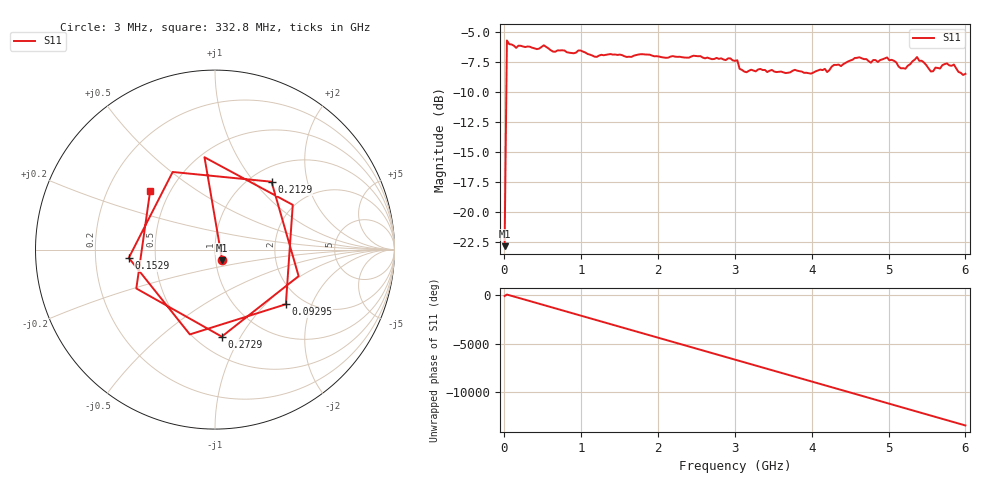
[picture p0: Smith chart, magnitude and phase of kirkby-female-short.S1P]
! C:\data\Siglent F603FE cal kit tests\avg 16 100hz ifbw\kirkby short.S1P
! Touchstone 1.1 file saved by VNA.EXE V1.60 (www.ke5fx.com/gpib/readme.htm)
! 26/07/2020 12:23:25 p.m.
!  Source: HEWLETT PACKARD,8753C,0,4.12
!  Min freq: 3.000000E+006 Hz
!  Max freq: 6.000000E+009 Hz
!  Points: 201
!  Params: S11
# GHZ S DB R 50
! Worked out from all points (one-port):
!   201 points, 3 MHz to 6 GHz, reference 50 ohm
!   lowest |S11| = -22.8 dB at 3 MHz (marker M1), VSWR 1.16, Z = 53.8 - j6.5 ohm
!   |S11| at or under -10 dB: start of sweep to 25.47 MHz
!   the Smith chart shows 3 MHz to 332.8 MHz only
!   S11 on the Smith chart (normalised r, x): 3 MHz: 1.08, -0.13; 92.95 MHz: 1.64, -1.33; 152.9 MHz: 0.35, -0.04; 212.9 MHz: 1.24, +1.23; 272.9 MHz: 0.66, -0.84; 332.8 MHz: 0.39, +0.33
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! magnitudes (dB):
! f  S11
! 3 MHz  -22.8
! 32.98 MHz  -5.7
! 92.95 MHz  -6.0
! 152.9 MHz  -6.3
! 212.9 MHz  -6.2
! 272.9 MHz  -6.3
! 332.8 MHz  -6.2
! 752.6 MHz  -6.5
! 1.202 GHz  -7.1
! 1.502 GHz  -6.9
! 2.252 GHz  -7.1
! 3.002 GHz  -7.4
! 3.031 GHz  -7.4
! 3.061 GHz  -8.1
! 3.151 GHz  -8.4
! 3.751 GHz  -8.2
! 4.201 GHz  -8.3
! 4.291 GHz  -7.7
! 4.501 GHz  -7.4
! 4.621 GHz  -7.1
! 4.771 GHz  -7.6
! 4.981 GHz  -7.1
! 5.16 GHz  -8.0
! 5.25 GHz  -7.8
! 5.37 GHz  -7.1
! 5.55 GHz  -8.3
! 5.76 GHz  -7.6
! 6 GHz  -8.5
